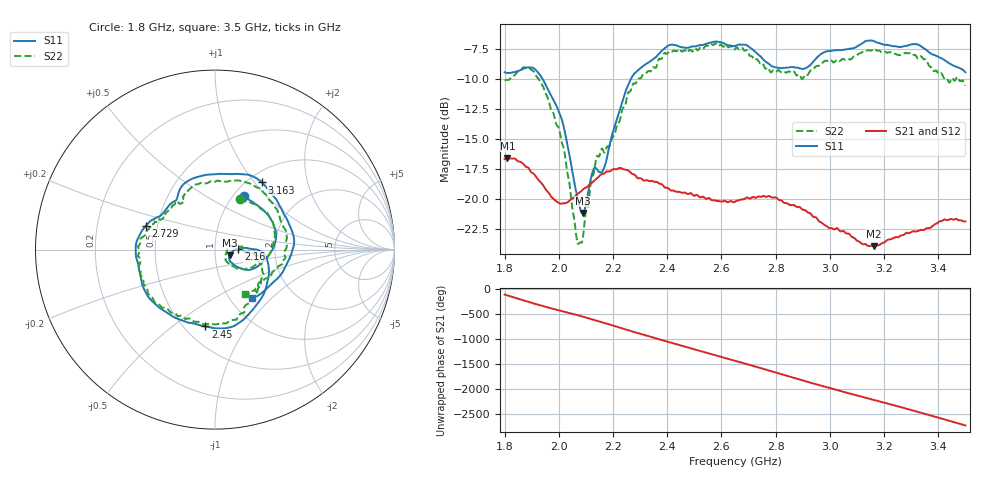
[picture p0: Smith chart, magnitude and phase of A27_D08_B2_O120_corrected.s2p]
! Created with skrf 1.9.0 (http://scikit-rf.org).
# Hz S RI R 50.0
!freq ReS11 ImS11 ReS21 ImS21 ReS12 ImS12 ReS22 ImS22
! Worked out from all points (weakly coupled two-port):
!   1601 points, 1.8 GHz to 3.5 GHz, reference 50 ohm
!   highest |S21| = -16.57 dB at 1.811 GHz (marker M1); lowest = -23.9 dB at 3.161 GHz (marker M2)
!   lowest |S11| = -21.2 dB at 2.089 GHz (marker M3), VSWR 1.19, Z = 58.8 - j3.69 ohm
!   |S11| at or under -10 dB: 1.941 GHz to 2.265 GHz (324.1 MHz wide, 15.4 % of centre)
!   |S22| runs from -23.7 to -7.0 dB; largest |S21 - S12| = 0.0028
!   S11 on the Smith chart (normalised r, x): 1.8 GHz: 1.12, +0.75; 2.16 GHz: 1.30, +0.01; 2.45 GHz: 0.63, -0.66; 2.729 GHz: 0.43, +0.14; 3.163 GHz: 1.16, +1.10; 3.5 GHz: 1.27, -0.76
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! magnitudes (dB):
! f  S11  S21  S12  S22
! 1.8 GHz  -9.4  -16.6  -16.7  -10.1
! 1.811 GHz  -9.5  -16.6  -16.6  -10.0
! 1.886 GHz  -9.0  -17.4  -17.4  -9.0
! 1.941 GHz  -10.0  -18.8  -18.8  -10.6
! 2.011 GHz  -13.4  -20.4  -20.4  -15.3
! 2.066 GHz  -19.6  -19.6  -19.6  -23.3
! 2.084 GHz  -21.1  -19.3  -19.3  -23.6
! 2.089 GHz  -21.2  -19.2  -19.2  -23.2
! 2.127 GHz  -17.5  -18.5  -18.5  -18.0
! 2.16 GHz  -17.7  -17.9  -17.9  -15.8
! 2.263 GHz  -10.1  -17.7  -17.8  -11.0
! 2.367 GHz  -7.9  -18.6  -18.6  -8.4
! 2.45 GHz  -7.3  -19.4  -19.4  -7.6
! 2.65 GHz  -7.2  -20.2  -20.2  -7.5
! 2.729 GHz  -7.8  -19.9  -19.9  -8.3
! 2.806 GHz  -9.0  -20.0  -20.0  -9.3
! 2.934 GHz  -8.7  -21.4  -21.3  -9.2
! 3.161 GHz  -6.8  -23.9  -23.9  -7.5
! 3.163 GHz  -6.8  -23.9  -23.9  -7.4
! 3.217 GHz  -7.1  -23.4  -23.4  -7.7
! 3.325 GHz  -7.1  -22.7  -22.7  -8.3
! 3.5 GHz  -9.4  -21.9  -21.9  -10.5
